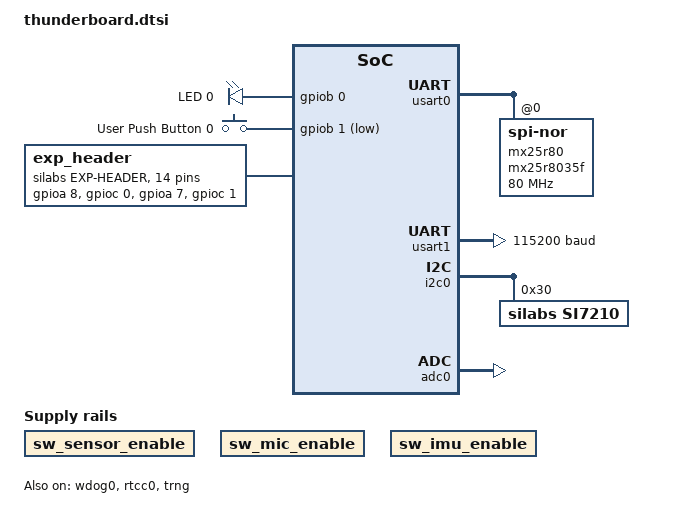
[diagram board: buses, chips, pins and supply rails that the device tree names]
/*
 * Copyright (c) 2023 Antmicro <www.antmicro.com>
 *
 * SPDX-License-Identifier: Apache-2.0
 */

#include <zephyr/dt-bindings/input/input-event-codes.h>

/ {
	chosen {
		zephyr,bt-c2h-uart = &usart1;
		zephyr,console = &usart1;
		zephyr,flash = &flash0;
		zephyr,shell-uart = &usart1;
		zephyr,sram = &sram0;
		zephyr,uart-pipe = &usart1;
	};

	leds {
		compatible = "gpio-leds";

		led0: led_0 {
			gpios = <&gpiob 0 GPIO_ACTIVE_HIGH>;
			label = "LED 0";
		};
	};

	buttons {
		compatible = "gpio-keys";

		button0: button_0 {
			gpios = <&gpiob 1 GPIO_ACTIVE_LOW>;
			label = "User Push Button 0";
			zephyr,code = <INPUT_KEY_0>;
		};
	};

	/* GPIOs that power up different sensors */
	sw_sensor_enable: gpio_switch_0 {
		compatible = "regulator-fixed";
		/* Always on since sensor drivers won't enable it automatically */
		regulator-always-on;
		regulator-name = "sw_sensor_enable";
		startup-delay-us = <100000>;
	};

	sw_mic_enable: gpio_switch_1 {
		compatible = "regulator-fixed";
		regulator-name = "sw_mic_enable";
		startup-delay-us = <100000>;
	};

	sw_imu_enable: gpio_switch_2 {
		compatible = "regulator-fixed";
		regulator-name = "sw_imu_enable";
		startup-delay-us = <100000>;
	};

	exp_header: exp-header {
		compatible = "silabs,exp-header";
		#gpio-cells = <2>;
		gpio-map = <3 0 &gpioa 8 0>,
			   <4 0 &gpioc 0 0>,
			   <5 0 &gpioa 7 0>,
			   <6 0 &gpioc 1 0>,
			   <7 0 &gpiob 0 0>,
			   <8 0 &gpioc 2 0>,
			   <9 0 &gpiob 1 0>,
			   <10 0 &gpiob 2 0>,
			   <11 0 &gpioa 4 0>,
			   <12 0 &gpioa 5 0>,
			   <13 0 &gpiob 3 0>,
			   <14 0 &gpioa 6 0>,
			   <15 0 &gpiod 3 0>,
			   <16 0 &gpiod 2 0>;
		gpio-map-mask = <0xffffffff 0x0>;
		gpio-map-pass-thru = <0x0 GPIO_DT_FLAGS_MASK>;
	};
};

&cpu0 {
	clock-frequency = <76800000>;
};

&itm {
	pinctrl-0 = <&itm_default>;
	pinctrl-names = "default";
	swo-ref-frequency = <DT_FREQ_K(76800)>;
};

&usart0 {
	status = "okay";
	pinctrl-0 = <&usart0_default>;
	pinctrl-names = "default";

	#address-cells = <1>;
	#size-cells = <0>;
	cs-gpios = <&gpioc 3 GPIO_ACTIVE_LOW>;

	mx25r80: mx25r8035f@0 {
		compatible = "jedec,spi-nor";
		reg = <0>;
		jedec-id = [c2 28 14];
		sfdp-bfp = [e5 20 f1 ff ff ff 7f 00 44 eb 08 6b 08 3b 04 bb
			    ee ff ff ff ff ff 00 ff ff ff 00 ff 0c 20 0f 52
			    10 d8 00 ff 23 72 f5 00 82 ed 04 b7 44 83 38 44
			    30 b0 30 b0 f7 c4 d5 5c 00 be 29 ff f0 d0 ff ff];
		size = <0x800000>;
		spi-max-frequency = <80000000>;
	};
};

&usart1 {
	current-speed = <115200>;
	pinctrl-0 = <&usart1_default>;
	pinctrl-names = "default";
	status = "okay";
};

&wdog0 {
	status = "okay";
};

&flash0 {
	partitions {
		compatible = "fixed-partitions";
		#address-cells = <1>;
		#size-cells = <1>;
	};
};

&gpio {
	status = "okay";
};

&gpioa {
	status = "okay";
};

&gpiob {
	status = "okay";
};

&gpioc {
	status = "okay";
};

&rtcc0 {
	status = "okay";
};

&trng {
	status = "okay";
};

&i2c0 {
	pinctrl-0 = <&i2c0_default>;
	pinctrl-names = "default";
	status = "okay";

	si7210@30 {
		compatible = "silabs,si7210";
		reg = <0x30>;
	};
};

&adc0 {
	status = "okay";
};
